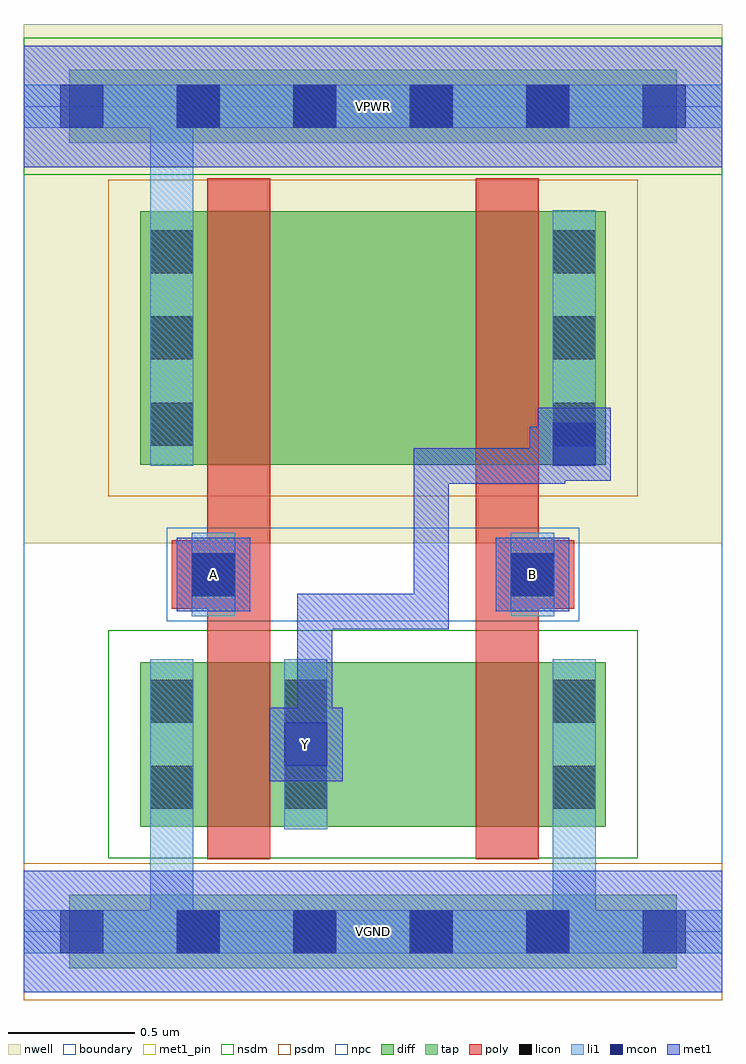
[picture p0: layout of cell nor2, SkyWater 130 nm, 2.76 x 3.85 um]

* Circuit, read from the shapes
.subckt nor2 A B VGND VPWR Y
XM1 Y A VGND VGND sky130_fd_pr__nfet_01v8 w=0.65 l=0.25
XM2 VGND B Y VGND sky130_fd_pr__nfet_01v8 w=0.65 l=0.25
XM3 n1 A VPWR VPWR sky130_fd_pr__pfet_01v8 w=1 l=0.25
XM4 Y B n1 VPWR sky130_fd_pr__pfet_01v8 w=1 l=0.25
.ends

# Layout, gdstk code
import gdstk
lib = gdstk.Library(unit=1e-6, precision=1e-09)
def R(c, l, rs):  # rectangles x0, y0, x1, y1
    for r in rs: c.add(gdstk.rectangle(r[:2], r[2:], *l))
def A(c, l, x, y, w, h, nx, ny, dx, dy):  # array of equal rectangles
    R(c, l, [(x+i*dx, y+j*dy, x+i*dx+w, y+j*dy+h) for i in range(nx) for j in range(ny)])
nwell = (64, 20)
diff = (65, 20)
tap = (65, 44)
poly = (66, 20)
licon = (66, 44)
li1 = (67, 20)
mcon = (67, 44)
met1_pin = (68, 16)
met1 = (68, 20)
nsdm = (93, 44)
psdm = (94, 20)
npc = (95, 20)
boundary = (235, 4)

nor2 = lib.new_cell('nor2')
R(nor2, nwell, [(0,1.535,2.76,3.585)])
R(nor2, diff, [(0.46,0.415,2.3,1.065), (0.46,1.845,2.3,2.845)])
R(nor2, tap, [(0.18,-0.145,2.58,0.145), (0.18,3.115,2.58,3.405)])
R(nor2, poly, [(0.725,0.285,0.975,2.975), (1.785,0.285,2.035,2.975), (0.585,1.275,0.915,1.545), (1.845,1.275,2.175,1.545)])
A(nor2, licon, 0.605, -0.085, 0.17, 0.17, 4, 2, 0.46, 3.26)
A(nor2, licon, 0.5, 1.92, 0.17, 0.17, 1, 3, 0, 0.34)
A(nor2, licon, 2.09, 1.92, 0.17, 0.17, 1, 3, 0, 0.34)
R(nor2, licon, [(0.5,0.485,0.67,0.655), (1.03,0.485,1.2,0.655), (2.09,0.485,2.26,0.655), (0.5,0.825,0.67,0.995), (1.03,0.825,1.2,0.995), (2.09,0.825,2.26,0.995), (0.665,1.325,0.835,1.495), (1.925,1.325,2.095,1.495)])
R(nor2, li1, [(0,-0.085,2.76,0.085), (0.5,-0.085,0.67,1.075), (2.09,-0.085,2.26,1.075), (0.5,0.405,0.67,1.075), (1.03,0.405,1.2,1.075), (2.09,0.405,2.26,1.075), (0.665,1.245,0.835,1.575), (1.925,1.245,2.095,1.575), (0.5,1.84,0.67,2.85), (0.5,1.84,0.67,3.345), (2.09,1.84,2.26,2.85), (0,3.175,2.76,3.345)])
A(nor2, mcon, 0.145, -0.085, 0.17, 0.17, 6, 2, 0.46, 3.26)
R(nor2, mcon, [(1.03,0.655,1.2,0.825), (0.665,1.325,0.835,1.495), (1.925,1.325,2.095,1.495), (2.09,1.84,2.26,2.01)])
R(nor2, met1_pin, [(0,-0.24,2.76,0.24), (0.97,0.595,1.26,0.885), (0.605,1.265,0.895,1.555), (1.865,1.265,2.155,1.555), (0,3.02,2.76,3.5)])
R(nor2, met1, [(0,-0.24,2.76,0.24), (0.97,0.595,1.26,0.885), (1.08,0.735,1.22,0.875), (1.08,0.735,1.22,1.335), (1.08,1.195,1.68,1.335), (1.54,1.195,1.68,1.91), (0.605,1.265,0.895,1.555), (1.865,1.265,2.155,1.555), (1.54,1.77,2.14,1.91), (2,1.77,2.14,1.995), (2.03,1.78,2.32,2.07), (2,1.855,2.245,1.995), (0,3.02,2.76,3.5)])
R(nor2, nsdm, [(0.335,0.29,2.425,1.19), (0,2.99,2.76,3.53)])
R(nor2, psdm, [(0,-0.27,2.76,0.27), (0.335,1.72,2.425,2.97)])
R(nor2, npc, [(0.565,1.225,2.195,1.595)])
R(nor2, boundary, [(0,0,2.76,3.26)])
nor2.add(gdstk.Label('A', (0.75,1.41), layer=68, texttype=5))
nor2.add(gdstk.Label('B', (2.01,1.41), layer=68, texttype=5))
nor2.add(gdstk.Label('Y', (1.115,0.74), layer=68, texttype=5))
nor2.add(gdstk.Label('VPWR', (1.38,3.26), layer=68, texttype=5))
nor2.add(gdstk.Label('VGND', (1.38,0), layer=68, texttype=5))
nor2.add(gdstk.Label('A', (0.75,1.41), layer=68, texttype=16))
nor2.add(gdstk.Label('B', (2.01,1.41), layer=68, texttype=16))
nor2.add(gdstk.Label('Y', (1.115,0.74), layer=68, texttype=16))
nor2.add(gdstk.Label('VPWR', (1.38,3.26), layer=68, texttype=16))
nor2.add(gdstk.Label('VGND', (1.38,0), layer=68, texttype=16))

lib.write_gds('nor2.gds')
